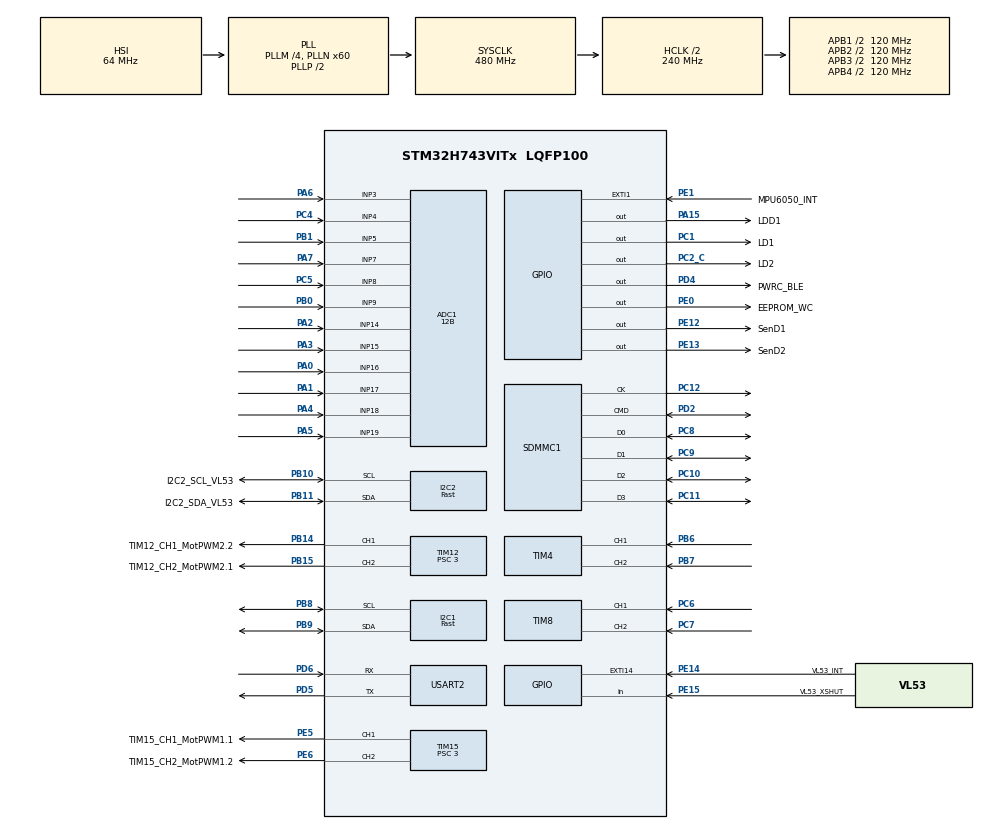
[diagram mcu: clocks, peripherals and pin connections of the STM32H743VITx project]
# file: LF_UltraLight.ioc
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ADC1.Channel-10\#ChannelRegularConversion=ADC_CHANNEL_14
ADC1.Channel-11\#ChannelRegularConversion=ADC_CHANNEL_15
ADC1.Channel-12\#ChannelRegularConversion=ADC_CHANNEL_18
ADC1.Channel-13\#ChannelRegularConversion=ADC_CHANNEL_19
ADC1.Channel-14\#ChannelRegularConversion=ADC_CHANNEL_3
ADC1.Channel-15\#ChannelRegularConversion=ADC_CHANNEL_7
ADC1.Channel-16\#ChannelRegularConversion=ADC_CHANNEL_4
ADC1.Channel-17\#ChannelRegularConversion=ADC_CHANNEL_8
ADC1.Channel-18\#ChannelRegularConversion=ADC_CHANNEL_9
ADC1.Channel-19\#ChannelRegularConversion=ADC_CHANNEL_5
ADC1.Channel-8\#ChannelRegularConversion=ADC_CHANNEL_16
ADC1.Channel-9\#ChannelRegularConversion=ADC_CHANNEL_17
ADC1.ClockPrescaler=ADC_CLOCK_ASYNC_DIV6
ADC1.ContinuousConvMode=ENABLE
ADC1.ConversionDataManagement=ADC_CONVERSIONDATA_DMA_CIRCULAR
ADC1.EnableInjectedConversion=ENABLE
ADC1.NbrOfConversion=12
ADC1.NbrOfConversionFlag=1
ADC1.OffsetNumber-10\#ChannelRegularConversion=ADC_OFFSET_NONE
ADC1.OffsetNumber-11\#ChannelRegularConversion=ADC_OFFSET_NONE
ADC1.OffsetNumber-12\#ChannelRegularConversion=ADC_OFFSET_NONE
ADC1.OffsetNumber-13\#ChannelRegularConversion=ADC_OFFSET_NONE
ADC1.OffsetNumber-14\#ChannelRegularConversion=ADC_OFFSET_NONE
ADC1.OffsetNumber-15\#ChannelRegularConversion=ADC_OFFSET_NONE
ADC1.OffsetNumber-16\#ChannelRegularConversion=ADC_OFFSET_NONE
ADC1.OffsetNumber-17\#ChannelRegularConversion=ADC_OFFSET_NONE
ADC1.OffsetNumber-18\#ChannelRegularConversion=ADC_OFFSET_NONE
ADC1.OffsetNumber-19\#ChannelRegularConversion=ADC_OFFSET_NONE
ADC1.OffsetNumber-8\#ChannelRegularConversion=ADC_OFFSET_NONE
ADC1.OffsetNumber-9\#ChannelRegularConversion=ADC_OFFSET_NONE
ADC1.Overrun=ADC_OVR_DATA_OVERWRITTEN
ADC1.OversamplingMode=DISABLE
ADC1.Rank-10\#ChannelRegularConversion=3
ADC1.Rank-11\#ChannelRegularConversion=4
ADC1.Rank-12\#ChannelRegularConversion=5
ADC1.Rank-13\#ChannelRegularConversion=6
ADC1.Rank-14\#ChannelRegularConversion=7
ADC1.Rank-15\#ChannelRegularConversion=8
ADC1.Rank-16\#ChannelRegularConversion=9
ADC1.Rank-17\#ChannelRegularConversion=10
ADC1.Rank-18\#ChannelRegularConversion=11
ADC1.Rank-19\#ChannelRegularConversion=12
ADC1.Rank-8\#ChannelRegularConversion=1
ADC1.Rank-9\#ChannelRegularConversion=2
ADC1.Resolution=ADC_RESOLUTION_12B
ADC1.SamplingTime-10\#ChannelRegularConversion=ADC_SAMPLETIME_16CYCLES_5
ADC1.SamplingTime-11\#ChannelRegularConversion=ADC_SAMPLETIME_16CYCLES_5
ADC1.SamplingTime-12\#ChannelRegularConversion=ADC_SAMPLETIME_16CYCLES_5
ADC1.SamplingTime-13\#ChannelRegularConversion=ADC_SAMPLETIME_16CYCLES_5
ADC1.SamplingTime-14\#ChannelRegularConversion=ADC_SAMPLETIME_16CYCLES_5
ADC1.SamplingTime-15\#ChannelRegularConversion=ADC_SAMPLETIME_16CYCLES_5
ADC1.SamplingTime-16\#ChannelRegularConversion=ADC_SAMPLETIME_16CYCLES_5
ADC1.SamplingTime-17\#ChannelRegularConversion=ADC_SAMPLETIME_16CYCLES_5
ADC1.SamplingTime-18\#ChannelRegularConversion=ADC_SAMPLETIME_16CYCLES_5
ADC1.SamplingTime-19\#ChannelRegularConversion=ADC_SAMPLETIME_16CYCLES_5
ADC1.SamplingTime-8\#ChannelRegularConversion=ADC_SAMPLETIME_16CYCLES_5
ADC1.SamplingTime-9\#ChannelRegularConversion=ADC_SAMPLETIME_16CYCLES_5
ADC1.master=1
CORTEX_M7.CPU_ICache=Disabled
Dma.ADC1.0.Direction=DMA_PERIPH_TO_MEMORY
Dma.ADC1.0.EventEnable=DISABLE
Dma.ADC1.0.FIFOMode=DMA_FIFOMODE_DISABLE
Dma.ADC1.0.Instance=DMA1_Stream0
Dma.ADC1.0.MemDataAlignment=DMA_MDATAALIGN_HALFWORD
Dma.ADC1.0.MemInc=DMA_MINC_ENABLE
Dma.ADC1.0.Mode=DMA_CIRCULAR
Dma.ADC1.0.PeriphDataAlignment=DMA_PDATAALIGN_HALFWORD
Dma.ADC1.0.PeriphInc=DMA_PINC_DISABLE
Dma.ADC1.0.Polarity=HAL_DMAMUX_REQ_GEN_RISING
Dma.ADC1.0.Priority=DMA_PRIORITY_LOW
Dma.ADC1.0.RequestNumber=1
Dma.ADC1.0.SignalID=NONE
Dma.ADC1.0.SyncEnable=DISABLE
Dma.ADC1.0.SyncPolarity=HAL_DMAMUX_SYNC_NO_EVENT
Dma.ADC1.0.SyncRequestNumber=1
Dma.ADC1.0.SyncSignalID=NONE
Dma.Request0=ADC1
Dma.Request1=USART2_RX
Dma.Request2=USART2_TX
Dma.USART2_RX.1.Direction=DMA_PERIPH_TO_MEMORY
Dma.USART2_RX.1.EventEnable=DISABLE
Dma.USART2_RX.1.FIFOMode=DMA_FIFOMODE_DISABLE
Dma.USART2_RX.1.Instance=DMA1_Stream1
Dma.USART2_RX.1.MemDataAlignment=DMA_MDATAALIGN_BYTE
Dma.USART2_RX.1.MemInc=DMA_MINC_ENABLE
Dma.USART2_RX.1.Mode=DMA_NORMAL
Dma.USART2_RX.1.PeriphDataAlignment=DMA_PDATAALIGN_BYTE
Dma.USART2_RX.1.PeriphInc=DMA_PINC_DISABLE
Dma.USART2_RX.1.Polarity=HAL_DMAMUX_REQ_GEN_RISING
Dma.USART2_RX.1.Priority=DMA_PRIORITY_LOW
Dma.USART2_RX.1.RequestNumber=1
Dma.USART2_RX.1.SignalID=NONE
Dma.USART2_RX.1.SyncEnable=DISABLE
Dma.USART2_RX.1.SyncPolarity=HAL_DMAMUX_SYNC_NO_EVENT
Dma.USART2_RX.1.SyncRequestNumber=1
Dma.USART2_RX.1.SyncSignalID=NONE
Dma.USART2_TX.2.Direction=DMA_MEMORY_TO_PERIPH
Dma.USART2_TX.2.EventEnable=DISABLE
Dma.USART2_TX.2.FIFOMode=DMA_FIFOMODE_DISABLE
Dma.USART2_TX.2.Instance=DMA1_Stream2
Dma.USART2_TX.2.MemDataAlignment=DMA_MDATAALIGN_BYTE
Dma.USART2_TX.2.MemInc=DMA_MINC_ENABLE
Dma.USART2_TX.2.Mode=DMA_NORMAL
Dma.USART2_TX.2.PeriphDataAlignment=DMA_PDATAALIGN_BYTE
Dma.USART2_TX.2.PeriphInc=DMA_PINC_DISABLE
Dma.USART2_TX.2.Polarity=HAL_DMAMUX_REQ_GEN_RISING
Dma.USART2_TX.2.Priority=DMA_PRIORITY_LOW
Dma.USART2_TX.2.RequestNumber=1
Dma.USART2_TX.2.SignalID=NONE
Dma.USART2_TX.2.SyncEnable=DISABLE
Dma.USART2_TX.2.SyncPolarity=HAL_DMAMUX_SYNC_NO_EVENT
Dma.USART2_TX.2.SyncRequestNumber=1
Dma.USART2_TX.2.SyncSignalID=NONE
I2C1.I2C_Speed_Mode=I2C_Fast
I2C1.Timing=0x00B03FDB
I2C2.I2C_Speed_Mode=I2C_Fast
I2C2.Timing=0x00B03FDB
Mcu.Family=STM32H7
Mcu.Name=STM32H743VITx
Mcu.Package=LQFP100
NVIC.DMA1_Stream0_IRQn=true\:0\:0\:false\:false\:true\:false\:true
NVIC.DMA1_Stream1_IRQn=true\:0\:0\:false\:false\:true\:false\:true
NVIC.DMA1_Stream2_IRQn=true\:0\:0\:false\:false\:true\:false\:true
NVIC.I2C1_ER_IRQn=true\:0\:0\:false\:false\:true\:true\:true
NVIC.I2C1_EV_IRQn=true\:0\:0\:false\:false\:true\:true\:true
NVIC.I2C2_ER_IRQn=true\:0\:0\:false\:false\:true\:true\:true
NVIC.I2C2_EV_IRQn=true\:0\:0\:false\:false\:true\:true\:true
NVIC.PriorityGroup=NVIC_PRIORITYGROUP_4
NVIC.TIM2_IRQn=true\:13\:0\:true\:false\:true\:true\:true
NVIC.TIM5_IRQn=true\:15\:0\:true\:false\:true\:true\:true
NVIC.USART2_IRQn=true\:0\:0\:false\:false\:true\:true\:true
PA0.Mode=IN16-Single-Ended
PA0.Signal=ADC1_INP16
PA1.Mode=IN17-Single-Ended
PA1.Signal=ADC1_INP17
PA13\ (JTMS/SWDIO).Mode=Trace_Asynchronous_SW
PA13\ (JTMS/SWDIO).Signal=DEBUG_JTMS-SWDIO
PA14\ (JTCK/SWCLK).Mode=Trace_Asynchronous_SW
PA14\ (JTCK/SWCLK).Signal=DEBUG_JTCK-SWCLK
PA15\ (JTDI).GPIO_Label=LDD1
PA15\ (JTDI).GPIO_ModeDefaultOutputPP=GPIO_MODE_OUTPUT_OD
PA15\ (JTDI).PinState=GPIO_PIN_SET
PA15\ (JTDI).Signal=GPIO_Output
PA2.Signal=ADCx_INP14
PA3.Signal=ADCx_INP15
PA4.Signal=ADCx_INP18
PA5.Signal=ADCx_INP19
PA6.Signal=ADCx_INP3
PA7.Signal=ADCx_INP7
PB0.Signal=ADCx_INP9
PB1.Signal=ADCx_INP5
PB10.GPIO_Label=I2C2_SCL_VL53
PB10.Mode=I2C
PB10.Signal=I2C2_SCL
PB11.GPIO_Label=I2C2_SDA_VL53
PB11.Mode=I2C
PB11.Signal=I2C2_SDA
PB14.GPIO_Label=TIM12_CH1_MotPWM2.2
PB14.Signal=S_TIM12_CH1
PB15.GPIO_Label=TIM12_CH2_MotPWM2.1
PB15.Signal=S_TIM12_CH2
PB3\ (JTDO/TRACESWO).Mode=Trace_Asynchronous_SW
PB3\ (JTDO/TRACESWO).Signal=DEBUG_JTDO-SWO
PB6.Signal=S_TIM4_CH1
PB7.Signal=S_TIM4_CH2
PB8.GPIO_Pu=GPIO_PULLUP
PB8.Mode=I2C
PB8.Signal=I2C1_SCL
PB9.GPIO_Pu=GPIO_PULLUP
PB9.Mode=I2C
PB9.Signal=I2C1_SDA
PC1.GPIO_Label=LD1
PC1.Signal=GPIO_Output
PC10.Mode=SD_4_bits_Wide_bus
PC10.Signal=SDMMC1_D2
PC11.Mode=SD_4_bits_Wide_bus
PC11.Signal=SDMMC1_D3
PC12.Mode=SD_4_bits_Wide_bus
PC12.Signal=SDMMC1_CK
PC2_C.GPIO_Label=LD2
PC2_C.Signal=GPIO_Output
PC4.Signal=ADCx_INP4
PC5.Signal=ADCx_INP8
PC6.Signal=S_TIM8_CH1
PC7.Signal=S_TIM8_CH2
PC8.Mode=SD_4_bits_Wide_bus
PC8.Signal=SDMMC1_D0
PC9.Mode=SD_4_bits_Wide_bus
PC9.Signal=SDMMC1_D1
PD2.Mode=SD_4_bits_Wide_bus
PD2.Signal=SDMMC1_CMD
PD4.GPIO_Label=PWRC_BLE
PD4.Signal=GPIO_Output
PD5.Mode=Asynchronous
PD5.Signal=USART2_TX
PD6.Mode=Asynchronous
PD6.Signal=USART2_RX
PE0.GPIO_Label=EEPROM_WC
PE0.PinState=GPIO_PIN_SET
PE0.Signal=GPIO_Output
PE1.GPIO_Label=MPU6050_INT
PE1.Signal=GPXTI1
PE12.GPIO_Label=SenD1
PE12.GPIO_ModeDefaultOutputPP=GPIO_MODE_OUTPUT_OD
PE12.PinState=GPIO_PIN_SET
PE12.Signal=GPIO_Output
PE13.GPIO_Label=SenD2
PE13.GPIO_ModeDefaultOutputPP=GPIO_MODE_OUTPUT_OD
PE13.PinState=GPIO_PIN_SET
PE13.Signal=GPIO_Output
PE14.GPIO_Label=VL53_INT
PE14.Signal=GPXTI14
PE15.GPIO_Label=VL53_XSHUT
PE15.Signal=GPIO_Input
PE5.GPIO_Label=TIM15_CH1_MotPWM1.1
PE5.Signal=S_TIM15_CH1
PE6.GPIO_Label=TIM15_CH2_MotPWM1.2
PE6.Signal=S_TIM15_CH2
ProjectManager.HeapSize=0x200
ProjectManager.StackSize=0x400
ProjectManager.TargetToolchain=STM32CubeIDE
RCC.ADCCLockSelection=RCC_ADCCLKSOURCE_CLKP
RCC.ADCFreq_Value=64000000
RCC.APB1Freq_Value=120000000
RCC.APB2Freq_Value=120000000
RCC.APB3Freq_Value=120000000
RCC.APB4Freq_Value=120000000
RCC.CortexFreq_Value=480000000
RCC.D1PPRE=RCC_APB3_DIV2
RCC.D2PPRE1=RCC_APB1_DIV2
RCC.D2PPRE2=RCC_APB2_DIV2
RCC.D3PPRE=RCC_APB4_DIV2
RCC.DIVM1=4
RCC.DIVM2=2
RCC.DIVN1=60
RCC.DIVN2=120
RCC.DIVP2=8
RCC.DIVQ1=8
RCC.DIVQ2=8
RCC.DIVR2=8
RCC.HCLKFreq_Value=240000000
RCC.HPRE=RCC_HCLK_DIV2
RCC.HSE_VALUE=16000000
RCC.SYSCLKFreq_VALUE=480000000
RCC.SYSCLKSource=RCC_SYSCLKSOURCE_PLLCLK
RCC.USBFreq_Value=120000000
SH.ADCx_INP14.0=ADC1_INP14,IN14-Single-Ended
SH.ADCx_INP15.0=ADC1_INP15,IN15-Single-Ended
SH.ADCx_INP18.0=ADC1_INP18,IN18-Single-Ended
SH.ADCx_INP19.0=ADC1_INP19,IN19-Single-Ended
SH.ADCx_INP3.0=ADC1_INP3,IN3-Single-Ended
SH.ADCx_INP4.0=ADC1_INP4,IN4-Single-Ended
SH.ADCx_INP5.0=ADC1_INP5,IN5-Single-Ended
SH.ADCx_INP7.0=ADC1_INP7,IN7-Single-Ended
SH.ADCx_INP8.0=ADC1_INP8,IN8-Single-Ended
SH.ADCx_INP9.0=ADC1_INP9,IN9-Single-Ended
SH.S_TIM12_CH1.0=TIM12_CH1,PWM Generation1 CH1
SH.S_TIM12_CH2.0=TIM12_CH2,PWM Generation2 CH2
SH.S_TIM15_CH1.0=TIM15_CH1,PWM Generation1 CH1
SH.S_TIM15_CH2.0=TIM15_CH2,PWM Generation2 CH2
SH.S_TIM4_CH1.0=TIM4_CH1,Encoder_Interface
SH.S_TIM4_CH2.0=TIM4_CH2,Encoder_Interface
SH.S_TIM8_CH1.0=TIM8_CH1,Encoder_Interface
SH.S_TIM8_CH2.0=TIM8_CH2,Encoder_Interface
TIM12.Channel-PWM\ Generation1\ CH1=TIM_CHANNEL_1
TIM12.Channel-PWM\ Generation2\ CH2=TIM_CHANNEL_2
TIM12.Period=1000
TIM12.Prescaler=3
TIM15.Channel-PWM\ Generation1\ CH1=TIM_CHANNEL_1
TIM15.Channel-PWM\ Generation2\ CH2=TIM_CHANNEL_2
TIM15.Period=1000
TIM15.Prescaler=3
TIM2.Period=101
TIM2.Prescaler=239
TIM4.EncoderMode=TIM_ENCODERMODE_TI12
TIM4.IC1Filter=10
TIM4.IC1Polarity=TIM_ICPOLARITY_RISING
TIM4.IC2Filter=10
TIM4.IC2Polarity=TIM_ICPOLARITY_RISING
TIM5.Period=10000
TIM5.Prescaler=240
TIM8.AutoReloadPreload=TIM_AUTORELOAD_PRELOAD_ENABLE
TIM8.EncoderMode=TIM_ENCODERMODE_TI12
TIM8.IC1Filter=10
TIM8.IC1Polarity=TIM_ICPOLARITY_RISING
TIM8.IC2Filter=10
TIM8.IC2Polarity=TIM_ICPOLARITY_RISING
USART2.VirtualMode-Asynchronous=VM_ASYNC
VP_TIM12_VS_ClockSourceINT.Mode=Internal
VP_TIM15_VS_ClockSourceINT.Mode=Internal
VP_TIM2_VS_ClockSourceINT.Mode=Internal
VP_TIM5_VS_ClockSourceINT.Mode=Internal
board=custom

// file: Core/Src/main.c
/* USER CODE BEGIN Header */
/**
  ******************************************************************************
  * @file           : main.c
  * @brief          : Main program body
  ******************************************************************************
  * @attention
  *
  * <h2><center>&copy; Copyright (c) 2020 STMicroelectronics.
  * All rights reserved.</center></h2>
  *
  * This software component is licensed by ST under BSD 3-Clause license,
  * the "License"; You may not use this file except in compliance with the
  * License. You may obtain a copy of the License at:
  *                        opensource.org/licenses/BSD-3-Clause
  *
  ******************************************************************************
  */
/* USER CODE END Header */
#include "main.h"
#include "adc.h"
#include "dma.h"
#include "i2c.h"
#include "sdmmc.h"
#include "tim.h"
#include "usart.h"
#include "gpio.h"

/* USER CODE BEGIN Includes */
#include "HM10_BleModule.h"
#include "LF_AppMain.h"
#include "Encoders_Module.h"

#include <stdio.h>

#include "ranging_vl53l0x.h"
#include "vl53l0x_api.h"

/* USER CODE END Includes */

void SystemClock_Config(void);
void PeriphCommonClock_Config(void);

/* USER CODE BEGIN 0 */

void HAL_UARTEx_RxEventCallback(UART_HandleTypeDef *huart, uint16_t Size)
{
	// Check if UART2 trigger the Callback
	if(huart->Instance == USART2)
	{
		// Start listening again
		HAL_UARTEx_ReceiveToIdle_DMA(&huart2, HM10BLE_App.ReceiveBuffer, ReceiveBufferSize);
		HM10BLE_RxEventCallback(Size); //Application/Src/HM10_BleModule.c
	}
}

void HAL_UART_TxCpltCallback(UART_HandleTypeDef *huart)
{
	// Check if UART2 triggered the Callback
	if(huart->Instance == USART2)
	{
		HM10BLE_TxCmpltEventCallback(); //Application/Src/HM10_BleModule.c
	}
}

/* USER CODE END 0 */

int main(void)
{

  /* MCU Configuration--------------------------------------------------------*/

  /* Reset of all peripherals, Initializes the Flash interface and the Systick. */
  HAL_Init();

  /* Configure the system clock */
  SystemClock_Config();

/* Configure the peripherals common clocks */
  PeriphCommonClock_Config();

  /* Initialize all configured peripherals */
  MX_GPIO_Init();
  MX_DMA_Init();
  MX_SDMMC1_SD_Init();
  MX_ADC1_Init();
  MX_TIM15_Init();
  MX_USART2_UART_Init();
  MX_TIM2_Init();
  MX_I2C1_Init();
  MX_TIM5_Init();
  MX_I2C2_Init();
  MX_TIM12_Init();
  MX_TIM8_Init();
  MX_TIM4_Init();
  /* USER CODE BEGIN 2 */
  //Activate 100usTimer
  LL_TIM_EnableIT_CC1(TIM2);
  LL_TIM_EnableCounter(TIM2);

/* MPU-6050 Detected at 0x69 */

  LF_App_MainConfig(); //Application/Src/LF_AppMain

//  static VL53L0X_Dev_t device;
//
//  static volatile uint16_t res = 0;
//
//  device.I2cHandle=&hi2c2;
//  device.I2cDevAddr=0x52;
//  device.Present=0;
//  device.Id=0;
//
//  initSensor( &device );

//  static uint8_t data_ready;
//  static VL53L0X_RangingMeasurementData_t result;
//  static VL53L0X_Error Status;

static uint16_t encHtim4Val=0, encHtim8Val=0 ;
static uint32_t SavedTimeLocalTest =0 ;

char locBlebuf[40];
int sizelocBleB;

uint8_t MSG[50] = {'\0'};

  /* USER CODE END 2 */

  /* Infinite loop */
  /* USER CODE BEGIN WHILE */
  while (1)
  {
	  if(SavedTimeLocalTest + 1000 < HAL_GetTick() )
		  {
			  SavedTimeLocalTest = HAL_GetTick() ;

//			  sizelocBleB = sprintf(locBlebuf, "\n\r *LEnc: : %ul \n\r *REnc: %ul "
//					  , *Enc_Module.LeftEncoderImpulsCount
//					  , *Enc_Module.RightEncoderImpulsCount);
//			  HAL_UART_Transmit(&huart2, locBlebuf, sizelocBleB, 100);

//		        Status=VL53L0X_GetMeasurementDataReady(&device, &data_ready);
//
//		        if( Status == VL53L0X_ERROR_NONE )
//		        {
//		            Status = VL53L0X_GetRangingMeasurementData(&device, &result);
//
//		            HAL_UART_Transmit(&huart2, "SFFS", 20, 100); result.RangeMilliMeter;
//
//		            if (Status == VL53L0X_ERROR_NONE)
//		            {
//		                Status = VL53L0X_ClearInterruptMask(&device,0);
//		            }
//		        }
		  }

	  LF_App_MainTask(); //Application/Src/LF_AppMain
    /* USER CODE END WHILE */

  }
}

void SystemClock_Config(void)
{
  RCC_OscInitTypeDef RCC_OscInitStruct = {0};
  RCC_ClkInitTypeDef RCC_ClkInitStruct = {0};

  /** Supply configuration update enable
  */
  HAL_PWREx_ConfigSupply(PWR_LDO_SUPPLY);
  /** Configure the main internal regulator output voltage
  */
  __HAL_PWR_VOLTAGESCALING_CONFIG(PWR_REGULATOR_VOLTAGE_SCALE0);

  while(!__HAL_PWR_GET_FLAG(PWR_FLAG_VOSRDY)) {}
  /** Initializes the RCC Oscillators according to the specified parameters
  * in the RCC_OscInitTypeDef structure.
  */
  RCC_OscInitStruct.OscillatorType = RCC_OSCILLATORTYPE_HSI;
  RCC_OscInitStruct.HSIState = RCC_HSI_DIV1;
  RCC_OscInitStruct.HSICalibrationValue = RCC_HSICALIBRATION_DEFAULT;
  RCC_OscInitStruct.PLL.PLLState = RCC_PLL_ON;
  RCC_OscInitStruct.PLL.PLLSource = RCC_PLLSOURCE_HSI;
  RCC_OscInitStruct.PLL.PLLM = 4;
  RCC_OscInitStruct.PLL.PLLN = 60;
  RCC_OscInitStruct.PLL.PLLP = 2;
  RCC_OscInitStruct.PLL.PLLQ = 8;
  RCC_OscInitStruct.PLL.PLLR = 2;
  RCC_OscInitStruct.PLL.PLLRGE = RCC_PLL1VCIRANGE_3;
  RCC_OscInitStruct.PLL.PLLVCOSEL = RCC_PLL1VCOWIDE;
  RCC_OscInitStruct.PLL.PLLFRACN = 0;
  if (HAL_RCC_OscConfig(&RCC_OscInitStruct) != HAL_OK)
  {
    Error_Handler();
  }
  /** Initializes the CPU, AHB and APB buses clocks
  */
  RCC_ClkInitStruct.ClockType = RCC_CLOCKTYPE_HCLK|RCC_CLOCKTYPE_SYSCLK
                              |RCC_CLOCKTYPE_PCLK1|RCC_CLOCKTYPE_PCLK2
                              |RCC_CLOCKTYPE_D3PCLK1|RCC_CLOCKTYPE_D1PCLK1;
  RCC_ClkInitStruct.SYSCLKSource = RCC_SYSCLKSOURCE_PLLCLK;
  RCC_ClkInitStruct.SYSCLKDivider = RCC_SYSCLK_DIV1;
  RCC_ClkInitStruct.AHBCLKDivider = RCC_HCLK_DIV2;
  RCC_ClkInitStruct.APB3CLKDivider = RCC_APB3_DIV2;
  RCC_ClkInitStruct.APB1CLKDivider = RCC_APB1_DIV2;
  RCC_ClkInitStruct.APB2CLKDivider = RCC_APB2_DIV2;
  RCC_ClkInitStruct.APB4CLKDivider = RCC_APB4_DIV2;

  if (HAL_RCC_ClockConfig(&RCC_ClkInitStruct, FLASH_LATENCY_4) != HAL_OK)
  {
    Error_Handler();
  }
}

void PeriphCommonClock_Config(void)
{
  RCC_PeriphCLKInitTypeDef PeriphClkInitStruct = {0};

  /** Initializes the peripherals clock
  */
  PeriphClkInitStruct.PeriphClockSelection = RCC_PERIPHCLK_CKPER;
  PeriphClkInitStruct.CkperClockSelection = RCC_CLKPSOURCE_HSI;
  if (HAL_RCCEx_PeriphCLKConfig(&PeriphClkInitStruct) != HAL_OK)
  {
    Error_Handler();
  }
}

/* USER CODE BEGIN 4 */
static VL53L0X_Error initSensor( VL53L0X_Dev_t * device )
{
    VL53L0X_Error Status=VL53L0X_ERROR_NONE;

    static uint32_t refSpadCount     = 0;
    static uint8_t  isApertureSpads  = 0;
    static uint8_t  VhvSettings      = 0;
    static uint8_t  PhaseCal         = 0;

    if (Status == VL53L0X_ERROR_NONE)
    {
        Status=VL53L0X_SetDeviceAddress( device, 0x51 );
        device->I2cDevAddr=0x51;
    }

    if (Status == VL53L0X_ERROR_NONE)
    {
        Status=VL53L0X_DataInit( device );
    }

    if (Status == VL53L0X_ERROR_NONE)
    {
        Status=VL53L0X_StaticInit( device );
    }

    if (Status == VL53L0X_ERROR_NONE)
    {
        Status = VL53L0X_PerformRefSpadManagement( device, &refSpadCount, &isApertureSpads);
    }

    if (Status == VL53L0X_ERROR_NONE)
    {
        Status = VL53L0X_PerformRefCalibration( device, &VhvSettings, &PhaseCal);
    }

    if (Status == VL53L0X_ERROR_NONE)
    {
        Status=VL53L0X_SetReferenceSpads( device, refSpadCount, isApertureSpads);
    }

    if (Status == VL53L0X_ERROR_NONE)
    {
        Status=VL53L0X_SetRefCalibration( device, VhvSettings, PhaseCal);
    }

    if (Status == VL53L0X_ERROR_NONE)
    {
        Status=VL53L0X_SetDeviceMode( device, VL53L0X_DEVICEMODE_CONTINUOUS_RANGING);
    }

    if (Status == VL53L0X_ERROR_NONE)
    {
        Status = VL53L0X_SetLimitCheckValue( device, VL53L0X_CHECKENABLE_SIGNAL_RATE_FINAL_RANGE, (FixPoint1616_t)(0.25*65536) );
    }

    if (Status == VL53L0X_ERROR_NONE)
    {
        Status = VL53L0X_SetLimitCheckValue( device, VL53L0X_CHECKENABLE_SIGMA_FINAL_RANGE, (FixPoint1616_t)(32*65536) );
    }

    if (Status == VL53L0X_ERROR_NONE)
    {
        Status =VL53L0X_SetMeasurementTimingBudgetMicroSeconds( device,	20000 );
    }

    if (Status == VL53L0X_ERROR_NONE)
    {
        Status=VL53L0X_StartMeasurement( device );
    }

    return Status;
}
/* USER CODE END 4 */

void Error_Handler(void)
{
}

/************************ (C) COPYRIGHT STMicroelectronics *****END OF FILE****/
